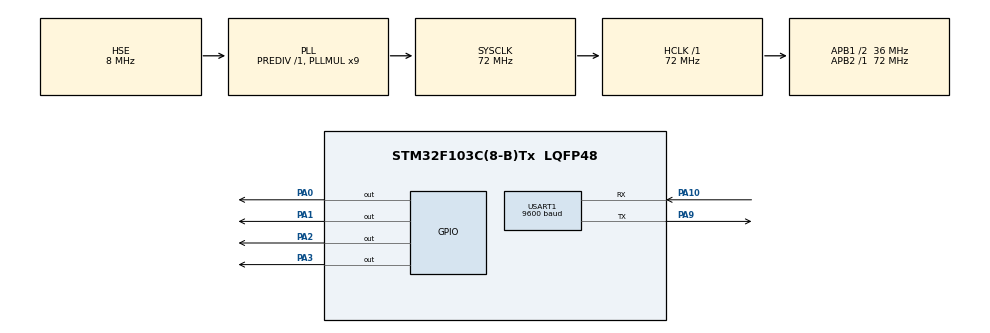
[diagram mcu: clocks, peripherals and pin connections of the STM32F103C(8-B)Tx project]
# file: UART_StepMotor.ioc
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Mcu.Family=STM32F1
Mcu.Name=STM32F103C(8-B)Tx
Mcu.Package=LQFP48
NVIC.PriorityGroup=NVIC_PRIORITYGROUP_4
NVIC.USART1_IRQn=true\:0\:0\:false\:false\:true\:true\:true\:true
PA0-WKUP.Signal=GPIO_Output
PA1.Signal=GPIO_Output
PA10.Mode=Asynchronous
PA10.Signal=USART1_RX
PA13.Mode=Serial_Wire
PA13.Signal=SYS_JTMS-SWDIO
PA14.Mode=Serial_Wire
PA14.Signal=SYS_JTCK-SWCLK
PA2.Signal=GPIO_Output
PA3.Signal=GPIO_Output
PA9.Mode=Asynchronous
PA9.Signal=USART1_TX
PD0-OSC_IN.Mode=HSE-External-Oscillator
PD0-OSC_IN.Signal=RCC_OSC_IN
PD1-OSC_OUT.Mode=HSE-External-Oscillator
PD1-OSC_OUT.Signal=RCC_OSC_OUT
ProjectManager.HeapSize=0x200
ProjectManager.StackSize=0x400
ProjectManager.TargetToolchain=MDK-ARM V5.32
RCC.AHBFreq_Value=72000000
RCC.APB1CLKDivider=RCC_HCLK_DIV2
RCC.APB1Freq_Value=36000000
RCC.APB1TimFreq_Value=72000000
RCC.APB2Freq_Value=72000000
RCC.APB2TimFreq_Value=72000000
RCC.HCLKFreq_Value=72000000
RCC.PLLMUL=RCC_PLL_MUL9
RCC.PLLSourceVirtual=RCC_PLLSOURCE_HSE
RCC.SYSCLKFreq_VALUE=72000000
RCC.SYSCLKSource=RCC_SYSCLKSOURCE_PLLCLK
RCC.USBFreq_Value=72000000
USART1.BaudRate=9600
USART1.VirtualMode=VM_ASYNC
board=custom

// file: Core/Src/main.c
/* USER CODE BEGIN Header */
/**
  ******************************************************************************
  * @file           : main.c
  * @brief          : Main program body
  ******************************************************************************
  * @attention
  *
  * Copyright (c) 2026 STMicroelectronics.
  * All rights reserved.
  *
  * This software is licensed under terms that can be found in the LICENSE file
  * in the root directory of this software component.
  * If no LICENSE file comes with this software, it is provided AS-IS.
  *
  ******************************************************************************
  */
/* USER CODE END Header */
#include "main.h"
#include "usart.h"
#include "gpio.h"

/* USER CODE BEGIN PV */
uint8_t rx_data;
uint16_t step_delay = 5;
/* USER CODE END PV */

void SystemClock_Config(void);

/* USER CODE BEGIN 0 */
#define IN1_PIN GPIO_PIN_0
#define IN2_PIN GPIO_PIN_1
#define IN3_PIN GPIO_PIN_2
#define IN4_PIN GPIO_PIN_3
#define IN_PORT GPIOA
const uint8_t step_table[8][4] =
{
  {1,0,0,0},
  {1,1,0,0},
  {0,1,0,0},
  {0,1,1,0},
  {0,0,1,0},
  {0,0,1,1},
  {0,0,0,1},
  {1,0,0,1}
};

void StepMotor(uint8_t step)
{
  HAL_GPIO_WritePin(GPIOA, GPIO_PIN_0, step_table[step][0] ? GPIO_PIN_SET : GPIO_PIN_RESET);
  HAL_GPIO_WritePin(GPIOA, GPIO_PIN_1, step_table[step][1] ? GPIO_PIN_SET : GPIO_PIN_RESET);
  HAL_GPIO_WritePin(GPIOA, GPIO_PIN_2, step_table[step][2] ? GPIO_PIN_SET : GPIO_PIN_RESET);
  HAL_GPIO_WritePin(GPIOA, GPIO_PIN_3, step_table[step][3] ? GPIO_PIN_SET : GPIO_PIN_RESET);
}

/* USER CODE END 0 */

int main(void)
{

  /* MCU Configuration--------------------------------------------------------*/

  /* Reset of all peripherals, Initializes the Flash interface and the Systick. */
  HAL_Init();

  /* Configure the system clock */
  SystemClock_Config();

  /* Initialize all configured peripherals */
  MX_GPIO_Init();
  MX_USART1_UART_Init();
  /* USER CODE BEGIN 2 */
HAL_UART_Receive_IT(&huart1, &rx_data, 1);
uint8_t step_index = 0;
  /* USER CODE END 2 */

  /* Infinite loop */
  while (1)
  {
	StepMotor(step_index);
  step_index = (step_index + 1) % 8;
  HAL_Delay(step_delay);
    /* USER CODE BEGIN 3 */
  }HAL_UART_Receive_IT(&huart1, &rx_data, 1);
  /* USER CODE END 3 */
}

void SystemClock_Config(void)
{
  RCC_OscInitTypeDef RCC_OscInitStruct = {0};
  RCC_ClkInitTypeDef RCC_ClkInitStruct = {0};

  /** Initializes the RCC Oscillators according to the specified parameters
  * in the RCC_OscInitTypeDef structure.
  */
  RCC_OscInitStruct.OscillatorType = RCC_OSCILLATORTYPE_HSE;
  RCC_OscInitStruct.HSEState = RCC_HSE_ON;
  RCC_OscInitStruct.HSEPredivValue = RCC_HSE_PREDIV_DIV1;
  RCC_OscInitStruct.HSIState = RCC_HSI_ON;
  RCC_OscInitStruct.PLL.PLLState = RCC_PLL_ON;
  RCC_OscInitStruct.PLL.PLLSource = RCC_PLLSOURCE_HSE;
  RCC_OscInitStruct.PLL.PLLMUL = RCC_PLL_MUL9;
  if (HAL_RCC_OscConfig(&RCC_OscInitStruct) != HAL_OK)
  {
    Error_Handler();
  }

  /** Initializes the CPU, AHB and APB buses clocks
  */
  RCC_ClkInitStruct.ClockType = RCC_CLOCKTYPE_HCLK|RCC_CLOCKTYPE_SYSCLK
                              |RCC_CLOCKTYPE_PCLK1|RCC_CLOCKTYPE_PCLK2;
  RCC_ClkInitStruct.SYSCLKSource = RCC_SYSCLKSOURCE_PLLCLK;
  RCC_ClkInitStruct.AHBCLKDivider = RCC_SYSCLK_DIV1;
  RCC_ClkInitStruct.APB1CLKDivider = RCC_HCLK_DIV2;
  RCC_ClkInitStruct.APB2CLKDivider = RCC_HCLK_DIV1;

  if (HAL_RCC_ClockConfig(&RCC_ClkInitStruct, FLASH_LATENCY_2) != HAL_OK)
  {
    Error_Handler();
  }
}

/* USER CODE BEGIN 4 */
void HAL_UART_RxCpltCallback(UART_HandleTypeDef *huart)
{
  if (huart->Instance == USART1)
  {
    if (rx_data == '1')
      step_delay = 15;   // ?
    else if (rx_data == '2')
      step_delay = 8;    // ?
    else if (rx_data == '3')
      step_delay = 3;    // ?

    HAL_UART_Receive_IT(&huart1, &rx_data, 1);
  }
}

/* USER CODE END 4 */

void Error_Handler(void)
{
  __disable_irq();
  while (1)
  {
  }
}
